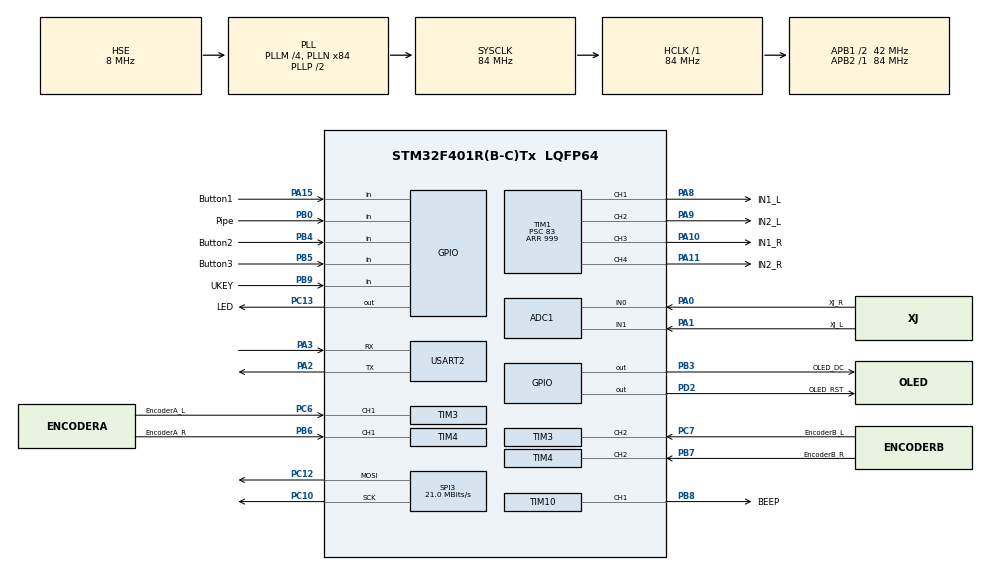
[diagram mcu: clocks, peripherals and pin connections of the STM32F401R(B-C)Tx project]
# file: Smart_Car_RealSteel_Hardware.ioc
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ADC1.Channel-5\#ChannelRegularConversion=ADC_CHANNEL_0
ADC1.Channel-6\#ChannelRegularConversion=ADC_CHANNEL_0
ADC1.ContinuousConvMode=ENABLE
ADC1.DMAContinuousRequests=ENABLE
ADC1.EOCSelection=ADC_EOC_SEQ_CONV
ADC1.NbrOfConversion=2
ADC1.NbrOfConversionFlag=1
ADC1.Rank-5\#ChannelRegularConversion=1
ADC1.Rank-6\#ChannelRegularConversion=2
ADC1.SamplingTime-5\#ChannelRegularConversion=ADC_SAMPLETIME_480CYCLES
ADC1.SamplingTime-6\#ChannelRegularConversion=ADC_SAMPLETIME_480CYCLES
ADC1.ScanConvMode=ENABLE
ADC1.master=1
Dma.ADC1.1.Direction=DMA_PERIPH_TO_MEMORY
Dma.ADC1.1.FIFOMode=DMA_FIFOMODE_DISABLE
Dma.ADC1.1.Instance=DMA2_Stream0
Dma.ADC1.1.MemDataAlignment=DMA_MDATAALIGN_WORD
Dma.ADC1.1.MemInc=DMA_MINC_ENABLE
Dma.ADC1.1.Mode=DMA_CIRCULAR
Dma.ADC1.1.PeriphDataAlignment=DMA_PDATAALIGN_WORD
Dma.ADC1.1.PeriphInc=DMA_PINC_DISABLE
Dma.ADC1.1.Priority=DMA_PRIORITY_LOW
Dma.Request0=SPI3_TX
Dma.Request1=ADC1
Dma.SPI3_TX.0.Direction=DMA_MEMORY_TO_PERIPH
Dma.SPI3_TX.0.FIFOMode=DMA_FIFOMODE_DISABLE
Dma.SPI3_TX.0.Instance=DMA1_Stream5
Dma.SPI3_TX.0.MemDataAlignment=DMA_MDATAALIGN_BYTE
Dma.SPI3_TX.0.MemInc=DMA_MINC_ENABLE
Dma.SPI3_TX.0.Mode=DMA_NORMAL
Dma.SPI3_TX.0.PeriphDataAlignment=DMA_PDATAALIGN_BYTE
Dma.SPI3_TX.0.PeriphInc=DMA_PINC_DISABLE
Dma.SPI3_TX.0.Priority=DMA_PRIORITY_LOW
Mcu.Family=STM32F4
Mcu.Name=STM32F401R(B-C)Tx
Mcu.Package=LQFP64
NVIC.DMA1_Stream5_IRQn=true\:0\:0\:false\:false\:true\:false\:true\:true
NVIC.DMA2_Stream0_IRQn=true\:0\:0\:false\:false\:true\:false\:true\:true
NVIC.PriorityGroup=NVIC_PRIORITYGROUP_4
NVIC.TIM1_BRK_TIM9_IRQn=true\:0\:0\:true\:false\:true\:true\:true\:true
NVIC.TIM1_TRG_COM_TIM11_IRQn=true\:0\:0\:true\:false\:true\:true\:true\:true
PA0-WKUP.GPIO_Label=XJ_R
PA0-WKUP.Signal=ADCx_IN0
PA1.GPIO_Label=XJ_L
PA1.Signal=ADCx_IN1
PA10.GPIO_Label=IN1_R
PA10.Signal=S_TIM1_CH3
PA11.GPIO_Label=IN2_R
PA11.Signal=S_TIM1_CH4
PA13.Mode=Serial_Wire
PA13.Signal=SYS_JTMS-SWDIO
PA14.Mode=Serial_Wire
PA14.Signal=SYS_JTCK-SWCLK
PA15.GPIO_Label=Button1
PA15.GPIO_PuPd=GPIO_PULLUP
PA15.Signal=GPIO_Input
PA2.Mode=Asynchronous
PA2.Signal=USART2_TX
PA3.Mode=Asynchronous
PA3.Signal=USART2_RX
PA8.GPIO_Label=IN1_L
PA8.Signal=S_TIM1_CH1
PA9.GPIO_Label=IN2_L
PA9.Signal=S_TIM1_CH2
PB0.GPIO_Label=Pipe
PB0.GPIO_PuPd=GPIO_PULLUP
PB0.Signal=GPIO_Input
PB3.GPIO_Label=OLED_DC
PB3.Signal=GPIO_Output
PB4.GPIO_Label=Button2
PB4.GPIO_PuPd=GPIO_PULLUP
PB4.Signal=GPIO_Input
PB5.GPIO_Label=Button3
PB5.GPIO_PuPd=GPIO_PULLUP
PB5.Signal=GPIO_Input
PB6.GPIO_Label=EncoderA_R
PB6.Signal=S_TIM4_CH1
PB7.GPIO_Label=EncoderB_R
PB7.Signal=S_TIM4_CH2
PB8.GPIO_Label=BEEP
PB8.GPIO_PuPd=GPIO_PULLUP
PB8.Signal=S_TIM10_CH1
PB9.GPIO_Label=UKEY
PB9.GPIO_PuPd=GPIO_PULLUP
PB9.Signal=GPIO_Input
PC10.Mode=TX_Only_Simplex_Unidirect_Master
PC10.Signal=SPI3_SCK
PC12.Mode=TX_Only_Simplex_Unidirect_Master
PC12.Signal=SPI3_MOSI
PC13-ANTI_TAMP.GPIO_Label=LED
PC13-ANTI_TAMP.PinState=GPIO_PIN_RESET
PC13-ANTI_TAMP.Signal=GPIO_Output
PC6.GPIO_Label=EncoderA_L
PC6.Signal=S_TIM3_CH1
PC7.GPIO_Label=EncoderB_L
PC7.Signal=S_TIM3_CH2
PD2.GPIO_Label=OLED_RST
PD2.PinState=GPIO_PIN_SET
PD2.Signal=GPIO_Output
PH0\ -\ OSC_IN.Mode=HSE-External-Oscillator
PH0\ -\ OSC_IN.Signal=RCC_OSC_IN
PH1\ -\ OSC_OUT.Mode=HSE-External-Oscillator
PH1\ -\ OSC_OUT.Signal=RCC_OSC_OUT
ProjectManager.HeapSize=0x200
ProjectManager.StackSize=0x400
ProjectManager.TargetToolchain=MDK-ARM V5.32
RCC.48MHZClocksFreq_Value=42000000
RCC.AHBFreq_Value=84000000
RCC.APB1CLKDivider=RCC_HCLK_DIV2
RCC.APB1Freq_Value=42000000
RCC.APB1TimFreq_Value=84000000
RCC.APB2Freq_Value=84000000
RCC.APB2TimFreq_Value=84000000
RCC.CortexFreq_Value=84000000
RCC.HCLKFreq_Value=84000000
RCC.HSE_VALUE=8000000
RCC.HSI_VALUE=16000000
RCC.LSE_VALUE=32768
RCC.PLLM=4
RCC.PLLN=84
RCC.PLLSourceVirtual=RCC_PLLSOURCE_HSE
RCC.SYSCLKFreq_VALUE=84000000
RCC.SYSCLKSource=RCC_SYSCLKSOURCE_PLLCLK
RCC.VCOOutputFreq_Value=168000000
SH.ADCx_IN0.0=ADC1_IN0,IN0
SH.ADCx_IN1.0=ADC1_IN1,IN1
SH.S_TIM10_CH1.0=TIM10_CH1,PWM Generation1 CH1
SH.S_TIM1_CH1.0=TIM1_CH1,PWM Generation1 CH1
SH.S_TIM1_CH2.0=TIM1_CH2,PWM Generation2 CH2
SH.S_TIM1_CH3.0=TIM1_CH3,PWM Generation3 CH3
SH.S_TIM1_CH4.0=TIM1_CH4,PWM Generation4 CH4
SH.S_TIM3_CH1.0=TIM3_CH1,Encoder_Interface
SH.S_TIM3_CH2.0=TIM3_CH2,Encoder_Interface
SH.S_TIM4_CH1.0=TIM4_CH1,Encoder_Interface
SH.S_TIM4_CH2.0=TIM4_CH2,Encoder_Interface
SPI3.CalculateBaudRate=21.0 MBits/s
SPI3.Direction=SPI_DIRECTION_2LINES
SPI3.Mode=SPI_MODE_MASTER
SPI3.VirtualType=VM_MASTER
TIM1.AutoReloadPreload=TIM_AUTORELOAD_PRELOAD_ENABLE
TIM1.Channel-PWM\ Generation1\ CH1=TIM_CHANNEL_1
TIM1.Channel-PWM\ Generation2\ CH2=TIM_CHANNEL_2
TIM1.Channel-PWM\ Generation3\ CH3=TIM_CHANNEL_3
TIM1.Channel-PWM\ Generation4\ CH4=TIM_CHANNEL_4
TIM1.Period=999
TIM1.Prescaler=83
TIM10.AutoReloadPreload=TIM_AUTORELOAD_PRELOAD_DISABLE
TIM10.Channel=TIM_CHANNEL_1
TIM10.Period=65535
TIM10.Prescaler=9
TIM11.AutoReloadPreload=TIM_AUTORELOAD_PRELOAD_ENABLE
TIM11.Channel=TIM_CHANNEL_1
TIM11.Period=999
TIM11.Prescaler=83
TIM3.EncoderMode=TIM_ENCODERMODE_TI12
TIM4.EncoderMode=TIM_ENCODERMODE_TI12
TIM9.AutoReloadPreload=TIM_AUTORELOAD_PRELOAD_DISABLE
TIM9.Period=99
TIM9.Prescaler=8399
USART2.VirtualMode=VM_ASYNC
VP_TIM10_VS_ClockSourceINT.Mode=Enable_Timer
VP_TIM11_VS_ClockSourceINT.Mode=Enable_Timer
VP_TIM1_VS_ClockSourceINT.Mode=Internal
VP_TIM9_VS_ClockSourceINT.Mode=Internal
board=custom

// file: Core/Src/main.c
/* USER CODE BEGIN Header */
/**
  ******************************************************************************
  * @file           : main.c
  * @brief          : Main program body
  ******************************************************************************
  * @attention
  *
  * Copyright (c) 2024 STMicroelectronics.
  * All rights reserved.
  *
  * This software is licensed under terms that can be found in the LICENSE file
  * in the root directory of this software component.
  * If no LICENSE file comes with this software, it is provided AS-IS.
  *
  ******************************************************************************
  */
/* USER CODE END Header */
#include "main.h"
#include "adc.h"
#include "dma.h"
#include "spi.h"
#include "tim.h"
#include "usart.h"
#include "gpio.h"

/* USER CODE BEGIN Includes */
#include "music_note.h"

/* USER CODE END Includes */

/* USER CODE BEGIN PD */
//用于PWM输出，演奏音符的定时器
#define NOTE_PWM_TIM         htim10
//PWM输出的通道
#define NOTE_PWM_CHANNEL     TIM_CHANNEL_1
//音符持续时间定时器
#define NOTE_CONTINUE_TIM    htim9
/* USER CODE END PD */

/* USER CODE BEGIN PV */

//用于音乐播放的全局变量
uint8_t Music_Volume;     //音量
uint8_t Music_Flag;       //切换音乐的标志位
uint16_t BGM_Length;      //BGM背景音乐的长度
Note_TypeDef *BGM_Current;      //指向当前BGM的指针
uint8_t test;     //test

unsigned char MoleMusicVolum;   //音量,建议范围1~10,1大10小

/* USER CODE END PV */

void SystemClock_Config(void);

int main(void)
{

  /* MCU Configuration--------------------------------------------------------*/

  /* Reset of all peripherals, Initializes the Flash interface and the Systick. */
  HAL_Init();

  /* Configure the system clock */
  SystemClock_Config();

  /* Initialize all configured peripherals */
  MX_GPIO_Init();
  MX_DMA_Init();
  MX_TIM1_Init();
  MX_TIM3_Init();
  MX_TIM10_Init();
  MX_TIM11_Init();
  MX_ADC1_Init();
  MX_SPI3_Init();
  MX_TIM4_Init();
  MX_USART2_UART_Init();
  MX_TIM9_Init();
  /* USER CODE BEGIN 2 */
	MoleMusicVolum = 6;
	enable_music_player();
  music_player(MoleMusicVolum,SUPER_MARIO_MUSIC);

  /* USER CODE END 2 */

  /* Infinite loop */
  /* USER CODE BEGIN WHILE */
  while (1)
  {
//		play_music_block(6);
		if(test>100)
		{
			HAL_GPIO_TogglePin(LED_GPIO_Port,LED_Pin);
			test=0;

		}
//		play_a_note(294,5);
//		HAL_GPIO_WritePin(LED_GPIO_Port,LED_Pin,GPIO_PIN_RESET);

    /* USER CODE END WHILE */

  }
}

void SystemClock_Config(void)
{
  RCC_OscInitTypeDef RCC_OscInitStruct = {0};
  RCC_ClkInitTypeDef RCC_ClkInitStruct = {0};

  /** Configure the main internal regulator output voltage
  */
  __HAL_RCC_PWR_CLK_ENABLE();
  __HAL_PWR_VOLTAGESCALING_CONFIG(PWR_REGULATOR_VOLTAGE_SCALE2);

  /** Initializes the RCC Oscillators according to the specified parameters
  * in the RCC_OscInitTypeDef structure.
  */
  RCC_OscInitStruct.OscillatorType = RCC_OSCILLATORTYPE_HSE;
  RCC_OscInitStruct.HSEState = RCC_HSE_ON;
  RCC_OscInitStruct.PLL.PLLState = RCC_PLL_ON;
  RCC_OscInitStruct.PLL.PLLSource = RCC_PLLSOURCE_HSE;
  RCC_OscInitStruct.PLL.PLLM = 4;
  RCC_OscInitStruct.PLL.PLLN = 84;
  RCC_OscInitStruct.PLL.PLLP = RCC_PLLP_DIV2;
  RCC_OscInitStruct.PLL.PLLQ = 4;
  if (HAL_RCC_OscConfig(&RCC_OscInitStruct) != HAL_OK)
  {
    Error_Handler();
  }

  /** Initializes the CPU, AHB and APB buses clocks
  */
  RCC_ClkInitStruct.ClockType = RCC_CLOCKTYPE_HCLK|RCC_CLOCKTYPE_SYSCLK
                              |RCC_CLOCKTYPE_PCLK1|RCC_CLOCKTYPE_PCLK2;
  RCC_ClkInitStruct.SYSCLKSource = RCC_SYSCLKSOURCE_PLLCLK;
  RCC_ClkInitStruct.AHBCLKDivider = RCC_SYSCLK_DIV1;
  RCC_ClkInitStruct.APB1CLKDivider = RCC_HCLK_DIV2;
  RCC_ClkInitStruct.APB2CLKDivider = RCC_HCLK_DIV1;

  if (HAL_RCC_ClockConfig(&RCC_ClkInitStruct, FLASH_LATENCY_2) != HAL_OK)
  {
    Error_Handler();
  }
}

/* USER CODE BEGIN 4 */
/**
  * @brief 使能音乐播放器
  * @param
  * @note  使能不代表立即播放音乐
  * @retval None
  */
void enable_music_player(void)
{
  HAL_TIM_Base_Start_IT(&NOTE_CONTINUE_TIM);
  HAL_TIM_PWM_Start(&NOTE_PWM_TIM,NOTE_PWM_CHANNEL);
}

/**
  * @brief 播放1个音符，根据音调让蜂鸣器发出声音
  * @param 音调（频率），音量
  * @note  音量建议范围1~10，1是最大，10几乎听不清了。
  *        NOTE_PWM_TIM是用于输出PWM的定时器
  *        NOTE_PWM_CHANNEL是该定时器中用于输出PWM的通道
  * @retval None
  */
void play_a_note(uint16_t tone,uint8_t volumeLevel)
{
	uint16_t autoReload;
	if((tone<20)||(tone>20000))//太低与太高的频率都当做无声
	{
    //比较值设置为0，静音
		__HAL_TIM_SET_COMPARE(&NOTE_PWM_TIM,NOTE_PWM_CHANNEL,0);
		__HAL_TIM_SET_COUNTER(&NOTE_PWM_TIM,0);
	}
	else
	{
    //根据频率计算自动重装值
		autoReload=(BEEP_TIM_CLOCK/tone)-1;
    //设置自动重装值
		__HAL_TIM_SET_AUTORELOAD(&NOTE_PWM_TIM,autoReload);
    //将自动重装值右移，成倍变小，作为比较值
		__HAL_TIM_SET_COMPARE(&NOTE_PWM_TIM,TIM_CHANNEL_1,autoReload>>volumeLevel);
    //在不使用缓冲的情况下，必须把计数值清零
		__HAL_TIM_SET_COUNTER(&NOTE_PWM_TIM,0);
	}
}

/**
  * @brief 以阻塞的方式演奏两只老虎
  * @param 音量
  * @note  音量建议范围1~10，1是最大，10几乎听不清了
  * @retval None
  */
void play_music_block(uint8_t volume_level)
{
  //两只老虎乐谱
  const Note_TypeDef TwoTigersMusic[]=
  {
    {0,37},//第一个元素的时间值为数组长度 音符数量比数组长度小1
    {CM1,40},{CM2,40},{CM3,40},{CM1,40},
    {CM1,40},{CM2,40},{CM3,40},{CM1,40},
    {CM3,40},{CM4,40},{CM5,40},{0,40},
    {CM3,40},{CM4,40},{CM5,40},{0,40},
    {CM5,20},{CM6,20},{CM5,20},{CM4,20},{CM3,40},{CM1,40},
    {CM5,20},{CM6,20},{CM5,20},{CM4,20},{CM3,40},{CM1,40},
    {CM1,40},{CL5,40},{CM1,40},{0,40},
    {CM1,40},{CL5,40},{CM1,40},{0,40},
  };

	int i = 1 ;
  int length = TwoTigersMusic[0].time;
	while(i < length) //i<length表示当前音乐还没有播放完
	{
	  //从乐谱数组中拿出一个音符并播放
    play_a_note(TwoTigersMusic[i].tone,volume_level);
    //根据乐谱中的某个音符的持续时间进行阻塞式延时
    HAL_Delay(TwoTigersMusic[i].time * 10);
    i++;
	}
}

/**
  * @brief 播放背景音乐
  * @param 音量，乐谱数组
  * @note  音量建议范围1~10，1是最大，10几乎听不清了
  *        此函数无需在别的源文件中调用
  * @retval None
  */
static void play_BGM(uint8_t volume_level,Note_TypeDef* BGM)
{
  Music_Flag = MUSIC_BEGIN;    //设置更换BGM标志
  BGM_Length = BGM[0].time;
  BGM_Current = BGM;
  Music_Volume = volume_level;
	//printf("播放背景音乐。\n");
}

/**
  * @brief 背景音乐的处理函数
  * @param None
  * @note  根据全局标志位Music_Flag的状态，判断是否需要停止播放音乐
  * @retval None
  */
static void BGM_handler(void)
{
	//静态变量，函数执行完也不会释放
  static uint16_t i = 0;//索引，表示乐谱的第几个音符
	static uint16_t passed_time = 0;//当前音符已经播放了多少倍10毫秒的时间
	static uint16_t curretnt_note_time = 0; //当前音符需要持续多少倍10毫秒的时间
	passed_time++;//每次调用此函数，则此变量+1，则说明已经过了10毫秒
	//如果当前的音符没有演奏完毕，则不需要做任何操作，继续演奏即可
	if(passed_time >= curretnt_note_time) //如果当前音符演奏完毕
	{
		if(Music_Flag == MUSIC_BEGIN)//如果第一次播放BGM或更换BGM，索引从头开始
		{
			i = 1;
			Music_Flag = MUSIC_CONTINUE;
		}

		if(i < BGM_Length) //当前BGM未演奏完，则演奏下一个音符
		{
			play_a_note(BGM_Current[i].tone,Music_Volume);
			curretnt_note_time = BGM_Current[i].time; //设置当前音符持续时间
			i++;
		}
		else//演奏结束
		{
			i = 1;
			Music_Flag = MUSIC_FINISH;
		}
		passed_time = 0;//时间重置
	}
}

/**
  * @brief 背景音乐播放回调函数，在定时器的中断函数中，每隔10ms调用一次
  * @param
  * @note  根据全局标志位Music_Flag的状态，判断是否需要停止播放音乐
  * @retval None
  */
void music_callback(void)
{
	if((Music_Flag == MUSIC_BEGIN)||(Music_Flag == MUSIC_CONTINUE))
	 BGM_handler();
 else//播放静止音符
	 play_a_note(0,Music_Volume);
}

/**
  * @brief 音乐播放器
  * @param 音量，音乐的序号
  * @note  音量建议范围1~10，1是最大，10几乎听不清了
  * @retval None
  */
void music_player(uint8_t volume_level , enum MusicList num)
{
	switch (num)
	{
		case CREATE_MUSIC:play_BGM(volume_level,(Note_TypeDef *)CreatMusic);break;
		case MISS_MUSIC:play_BGM(volume_level,(Note_TypeDef *)MissMusic);break;
		case TWO_TIGERS_MUSIC:play_BGM(volume_level,(Note_TypeDef *)TwoTigersMusic);break;
		case PEPPA_PIG_MUSIC:play_BGM(volume_level,(Note_TypeDef *)PeppaPigMusic);break;
		case SUPER_MARIO_MUSIC:play_BGM(volume_level,(Note_TypeDef *)SuperMarioMusic);break;
		case DOU_DI_ZHU_MUSIC:play_BGM(volume_level,(Note_TypeDef *)DouDiZhuMusic);break;
		case POLICE_MUSIC:play_BGM(volume_level,(Note_TypeDef *)PoliceMusic);break;
		case AMBULANCE_MUSIC:play_BGM(volume_level,(Note_TypeDef *)AmbulanceMusic);break;
	}
}

//定时器溢出中断处理函数
void HAL_TIM_PeriodElapsedCallback(TIM_HandleTypeDef *htim)
{
  if(htim == &NOTE_CONTINUE_TIM)
  {
		test++;
    music_callback();
  }

}

/* USER CODE END 4 */

void Error_Handler(void)
{
  __disable_irq();
  while (1)
  {
  }
}
